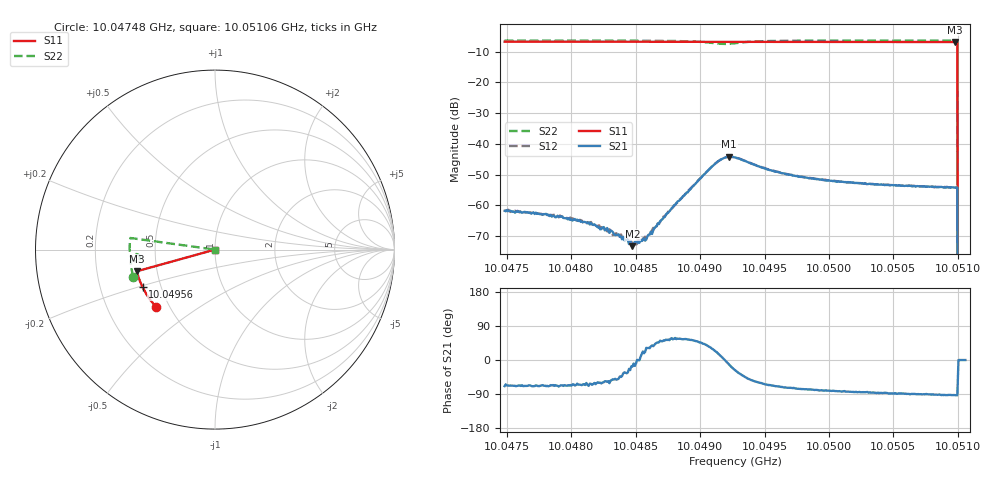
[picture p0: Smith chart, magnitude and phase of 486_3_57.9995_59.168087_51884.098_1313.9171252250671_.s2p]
#  HZ  S  RI  R  50.00
! Rohde & Schwarz Vector Network Analyzer
! Rohde-Schwarz,ZNB20-2Port,1311601062101988,3.16
! Created: UTC 3/21/2024, 1:12:05 AM
! freq[Hz]  re:S11  im:S11  re:S21  im:S21  re:S12  im:S12  re:S22  im:S22
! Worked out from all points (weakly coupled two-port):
!   401 points, 10.04748 GHz to 10.05106 GHz, reference 50 ohm
!   highest |S21| = -44.21 dB at 10.04923 GHz (marker M1); lowest = -73.3 dB at 10.04848 GHz (marker M2)
!   lowest |S11| = -6.9 dB at 10.05098 GHz (marker M3), VSWR 2.65, Z = 19.2 - j5.88 ohm
!   |S11| at or under -10 dB: 10.051 GHz to end of sweep
!   |S22| runs from - to -6.4 dB; largest |S21 - S12| = 0.00045
!   S11 on the Smith chart (normalised r, x): 10.04748 GHz: 0.42, -0.34; 10.04956 GHz: 0.39, -0.21; 10.05106 GHz: 1.00, +0.00
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1.0047483e10  -0.3268 -0.3214  0.000293 -0.000761  0.000381 -0.000749  -0.4544 -0.1511
1.0047858e10  -0.3432 -0.3025  0.00027 -0.000611  0.000297 -0.000631  -0.4612 -0.126
1.0048082e10  -0.3524 -0.2911  0.000218 -0.000498  0.000267 -0.000497  -0.4645 -0.1107
1.0048162e10  -0.3556 -0.2869  0.000203 -0.000443  0.000227 -0.000437  -0.4655 -0.105
1.0048216e10  -0.3578 -0.284  0.000217 -0.000382  0.000242 -0.000408  -0.4661 -0.1011
1.0048261e10  -0.3596 -0.2817  0.000218 -0.000326  0.00026 -0.000346  -0.4667 -0.0976
1.0048475e10  -0.3677 -0.2702  0.000207 -6.33e-05  0.000221 -6.34e-05  -0.4685 -0.0812
1.0048493e10  -0.3684 -0.2693  0.000246 -6.86e-05  0.000243 -2.12e-05  -0.4685 -0.0799
1.0048564e10  -0.3711 -0.2652  0.000274 8.84e-05  0.000263 0.000123  -0.4687 -0.0739
1.00486e10  -0.3724 -0.2634  0.000283 0.000176  0.000242 0.0002  -0.4687 -0.0709
1.0048681e10  -0.3752 -0.2589  0.000341 0.000359  0.000326 0.0004  -0.4685 -0.0638
1.0048815e10  -0.38 -0.2516  0.000617 0.000886  0.000539 0.000926  -0.4664 -0.0506
1.0049101e10  -0.3891 -0.2351  0.00391 0.00209  0.00379 0.0023  -0.4344 -0.0251
1.0049163e10  -0.3912 -0.2315  0.0055 0.000927  0.00545 0.0013  -0.4208 -0.0345
1.0049226e10  -0.3929 -0.2282  0.00602 -0.00131  0.00611 -0.000933  -0.4194 -0.0528
1.0049271e10  -0.3945 -0.2258  0.00535 -0.00269  0.00553 -0.00233  -0.4276 -0.0623
1.0049557e10  -0.4034 -0.2093  0.00141 -0.00337  0.00164 -0.00331  -0.4675 -0.0449
1.004987e10  -0.4119 -0.1907  0.000551 -0.00267  0.000695 -0.00263  -0.4747 -0.0162
1.0050468e10  -0.4261 -0.154  6.33e-05 -0.00211  0.000203 -0.00213  -0.4754 0.0286
1.0050978e10  -0.4354 -0.122  -9.47e-05 -0.00194  2.26e-05 -0.00194  -0.472 0.0636
1.0051023e10  0 0  0 0  0 0  0 0
1.0051058e10  0 0  0 0  0 0  0 0
